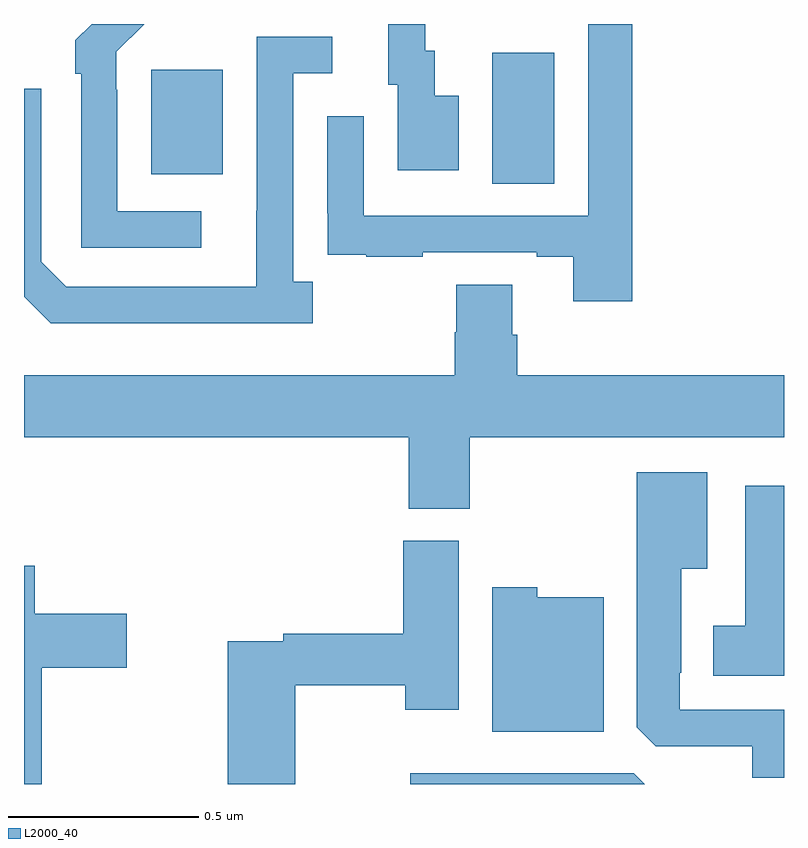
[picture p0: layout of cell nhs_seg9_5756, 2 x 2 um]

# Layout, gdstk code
import gdstk
lib = gdstk.Library(unit=1e-6, precision=1e-09)
def R(c, l, rs):  # rectangles x0, y0, x1, y1
    for r in rs: c.add(gdstk.rectangle(r[:2], r[2:], *l))
def P(c, l, *ps):  # polygons
    for p in ps: c.add(gdstk.Polygon(p, *l))
L2000_40 = (2000, 40)

nhs_seg9_5756 = lib.new_cell('nhs_seg9_5756')
R(nhs_seg9_5756, L2000_40, [(184.232,1205.08,184.396,1205.424), (183.335,1205.105,183.523,1205.38)])
P(nhs_seg9_5756, L2000_40, [(184.601,1205.5),(184.485,1205.5),(184.485,1204.995),(183.894,1204.995),(183.894,1205.257),(183.798,1205.257),(183.798,1205.002),(183.799,1205.002),(183.799,1204.893),(183.901,1204.893),(183.901,1204.887),(184.049,1204.887),(184.049,1204.899),(184.349,1204.899),(184.349,1204.887),(184.445,1204.887),(184.445,1204.77),(184.601,1204.77)],
  [(184.144,1205.311),(184.081,1205.311),(184.081,1205.43),(184.056,1205.43),(184.056,1205.5),(183.959,1205.5),(183.959,1205.34),(183.983,1205.34),(183.983,1205.115),(184.144,1205.115)],
  [(183.466,1205.007),(183.246,1205.007),(183.246,1205.327),(183.243,1205.327),(183.243,1205.427),(183.316,1205.5),(183.178,1205.5),(183.135,1205.457),(183.135,1205.369),(183.15,1205.369),(183.15,1204.911),(183.466,1204.911)],
  [(183.76,1204.822),(183.708,1204.822),(183.708,1205.37),(183.811,1205.37),(183.811,1205.466),(183.612,1205.466),(183.612,1205.009),(183.611,1205.009),(183.611,1204.809),(183.111,1204.809),(183.045,1204.875),(183.045,1205.329),(183,1205.329),(183,1204.782),(183.07,1204.712),(183.76,1204.712)],
  [(184.173,1204.412),(185,1204.412),(185,1204.576),(184.298,1204.576),(184.298,1204.682),(184.285,1204.682),(184.285,1204.814),(184.138,1204.814),(184.138,1204.689),(184.133,1204.689),(184.133,1204.576),(183,1204.576),(183,1204.412),(184.013,1204.412),(184.013,1204.225),(184.173,1204.225)],
  [(185,1203.696),(184.725,1203.696),(184.725,1203.793),(184.729,1203.793),(184.729,1204.067),(184.798,1204.067),(184.798,1204.321),(184.613,1204.321),(184.613,1203.649),(184.662,1203.6),(184.916,1203.6),(184.916,1203.517),(185,1203.517)],
  [(185,1204.285),(184.898,1204.285),(184.898,1203.916),(184.814,1203.916),(184.814,1203.785),(185,1203.785)],
  [(183.714,1203.76),(184.003,1203.76),(184.003,1203.696),(184.144,1203.696),(184.144,1204.14),(183.998,1204.14),(183.998,1203.896),(183.682,1203.896),(183.682,1203.876),(183.536,1203.876),(183.536,1203.5),(183.714,1203.5)],
  [(183.047,1203.806),(183.271,1203.806),(183.271,1203.948),(183.028,1203.948),(183.028,1204.075),(183,1204.075),(183,1203.5),(183.047,1203.5)],
  [(184.525,1203.991),(184.35,1203.991),(184.35,1204.018),(184.232,1204.018),(184.232,1203.638),(184.525,1203.638)],
  [(184.605,1203.528),(184.017,1203.528),(184.017,1203.5),(184.633,1203.5)])

lib.write_gds('nhs_seg9_5756.gds')
